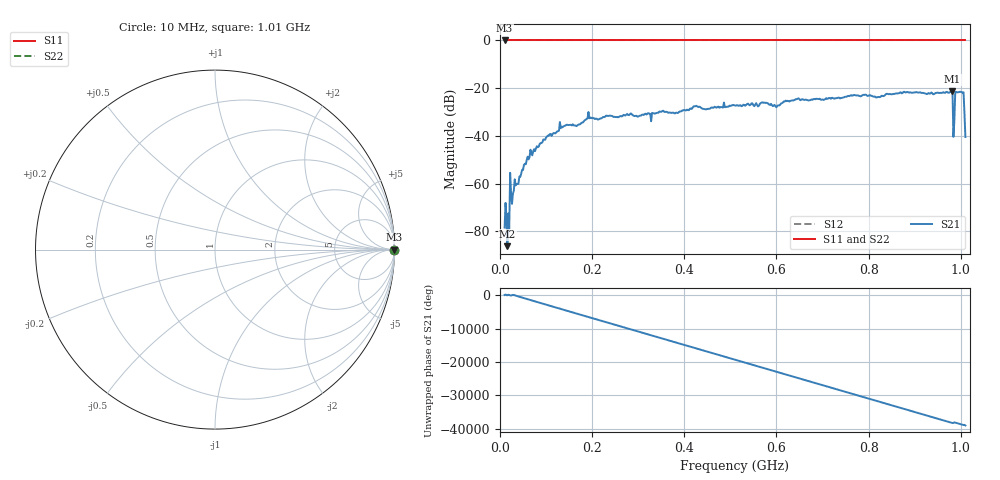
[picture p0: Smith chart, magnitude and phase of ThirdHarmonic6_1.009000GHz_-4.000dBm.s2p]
! 8/16/2025 8:16:19 AM
! C:\ANRITSUVNA\TEMP\TEMP.S2P
! CHANNEL.1
! TR.MEASUREMENT
! RAW.DATA
! RF.CORRECTION.OFF
! AVERAGING.OFF
! IF.BANDWIDTH: 5KHZ
! SWEEPTYPE:  FREQ.SWEEP(Linear)
! Reference Plane Port Info
! PORT:  PORT1  PORT2
! DISTANCE:  0  m  0  m
! TIME:  0  s  0  s
! PHASE.OFFSET:  0  deg.  0  deg.
! LOSS:  0  dB  0  dB
! REF.LOSS:  0  dB  0  dB
! REF.FREQ:  0  Hz  0  Hz
! Power Info
! POWER:  -20  dBm  -20  dBm
! EFF.POWER:  -20  dBm  -20  dBm
! SOURCE.ATTEN:  0  dB  0  dB
! TEST.ATTEN:  0  dB  0  dB
# GHZ S RI R 50.0
! FREQ.GHZ  S11RE  S11IM  S21RE  S21IM  S12RE  S12IM  S22RE  S22IM
!; PortSelection: Port_12
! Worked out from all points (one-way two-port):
!   501 points, 10 MHz to 1.01 GHz, reference 50 ohm
!   highest |S21| = -21.25 dB at 982 MHz (marker M1); lowest = -86.2 dB at 16 MHz (marker M2)
!   lowest |S11| = 0.0 dB at 10 MHz (marker M3)
!   |S11| at or under -10 dB: nowhere
!   |S22| runs from 0.0 to 0.0 dB; largest |S21 - S12| = 1.1
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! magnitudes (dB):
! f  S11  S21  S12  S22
! 10 MHz  0.0  -78.4  0.0  0.0
! 16 MHz  0.0  -86.2  0.0  0.0
! 26 MHz  0.0  -68.5  0.0  0.0
! 30 MHz  0.0  -63.0  0.0  0.0
! 64 MHz  0.0  -49.0  0.0  0.0
! 134 MHz  0.0  -36.1  0.0  0.0
! 178 MHz  0.0  -34.4  0.0  0.0
! 196 MHz  0.0  -32.4  0.0  0.0
! 344 MHz  0.0  -30.3  0.0  0.0
! 510 MHz  0.0  -27.2  0.0  0.0
! 572 MHz  0.0  -26.2  0.0  0.0
! 602 MHz  0.0  -27.3  0.0  0.0
! 644 MHz  0.0  -24.6  0.0  0.0
! 678 MHz  0.0  -24.9  0.0  0.0
! 844 MHz  0.0  -22.5  0.0  0.0
! 978 MHz  0.0  -21.6  0.0  0.0
! 982 MHz  0.0  -21.2  0.0  0.0
! 988 MHz  0.0  -21.7  0.0  0.0
! 992 MHz  0.0  -21.8  0.0  0.0
! 1.002 GHz  0.0  -21.7  0.0  0.0
! 1.004 GHz  0.0  -21.9  0.0  0.0
! 1.01 GHz  0.0  -40.5  0.0  0.0
